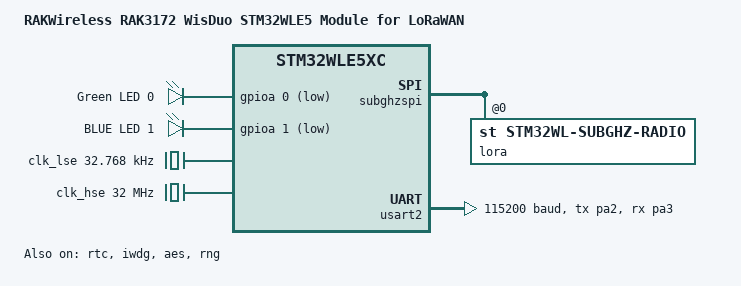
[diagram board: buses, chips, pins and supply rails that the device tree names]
/*
 * Copyright (c) 2020-2024 STMicroelectronics
 *
 * SPDX-License-Identifier: Apache-2.0
 */

/dts-v1/;
#include <st/wl/stm32wle5Xc.dtsi>
#include <st/wl/stm32wle5jcix-pinctrl.dtsi>


/ {
	model = "RAKWireless RAK3172 WisDuo STM32WLE5 Module for LoRaWAN";
	compatible = "rak,lora-rak3172";

	chosen {
		zephyr,console = &usart2;
		zephyr,shell-uart = &usart2;
		zephyr,sram = &sram0;
		zephyr,flash = &flash0;
		zephyr,code-partition = &slot0_partition;
	};

	leds {
		compatible = "gpio-leds";
		led0: led_0 {
			gpios = <&gpioa 0 GPIO_ACTIVE_LOW>;
			label = "Green LED 0";
		};
		led1: led_1 {
			gpios = <&gpioa 1 GPIO_ACTIVE_LOW>;
			label = "BLUE LED 1";
		};
	};


	/* These aliases are provided for compatibility with samples */
	aliases {
		led0 = &led0;
		led1 = &led1;
		watchdog0 = &iwdg;
		lora0 = &lora;
	};

};

&subghzspi {
	status = "okay";
	// compatible = "st,stm32wl-subghz-radio";
	lora: radio@0 {
		status = "okay";
		compatible = "st,stm32wl-subghz-radio";
		power-amplifier-output = "rfo-hp";
	};
};

&clk_lse {
	// Low-Speed External Crystal
	// RAK3172 has 32.768KHz Crystal Fitted
	status = "okay";
	clock-frequency = <32768>;
};

&clk_lsi {
	// Low-Speed Internal 32kHz
	status = "disabled";
};

// &lptim1 {
// 	// Low Power Timer
// 	// Required for Low Power Management
// 	// https://docs.zephyrproject.org/3.0.0/reference/devicetree/bindings/timer/st%2Cstm32-lptim.html#dtbinding-st-stm32-lptim
// 	status = "okay";
// 	clocks = <&rcc STM32_CLOCK_BUS_APB1 0x80000000>,
// 		 	<&rcc STM32_SRC_LSE LPTIM1_SEL(3)>;
// };

&clk_hse {
	// High-Speed External 32 MHz Oscillator Clock with trimming capacitors
	// https://docs.zephyrproject.org/3.0.0/reference/devicetree/bindings/clock/st%2Cstm32-hse-clock.html#dtbinding-st-stm32-hse-clock
	status = "okay";
	clock-frequency = <DT_FREQ_M(32)>;
};


&clk_hsi {
	// High-Speed Internal 16MHz RC Oscillator Clock
	status = "okay";
	clock-frequency = <DT_FREQ_M(16)>;
	// status = "disabled";
};

&clk_msi {
	// Multi-Speed Internal RC Oscillator from 100 kHz to 48 MHz
	// MSI Range = 11 (48MHz), Range 6 = (4MHz)
	// The MSI is used as system clock source after startup from reset, configured at 4 MHz.
	status = "okay";
	msi-range = <11>;
};

&pll {
	status = "okay";
	div-m = <2>;
	mul-n = <6>;
	div-r = <2>;
	div-q = <2>;
	div-p = <2>;
	clocks = <&clk_hse>;
};

&rcc {
	clocks = <&pll>;
	clock-frequency = <DT_FREQ_M(48)>;
	cpu1-prescaler = <1>;
	ahb3-prescaler = <1>;
	apb1-prescaler = <1>;
	apb2-prescaler = <1>;
};

&usart2 {
	status = "okay";
	pinctrl-0 = <&usart2_tx_pa2 &usart2_rx_pa3>;
	pinctrl-names = "default";
	current-speed = <115200>;
};
&rtc {
	status = "okay";
};

&iwdg {
	status = "okay";
};

&aes {
	status = "okay";
};

&rng {
	status = "okay";
};

&flash0 {
	partitions {
		compatible = "fixed-partitions";
		#address-cells = <1>;
		#size-cells = <1>;

		boot_partition: partition@0 {
			label = "mcuboot";
			reg = <0x00000000 DT_SIZE_K(32)>;
			read-only;
		};
		slot0_partition: partition@8000 {
			label = "image-0";
			reg = <0x00008000 DT_SIZE_K(108)>;
		};
		slot1_partition: partition@23000 {
			label = "image-1";
			reg = <0x00023000 DT_SIZE_K(108)>;
		};
		storage_partition: partition@3e000 {
			label = "storage";
			reg = <0x0003e000 DT_SIZE_K(8)>;
		};
	};
};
